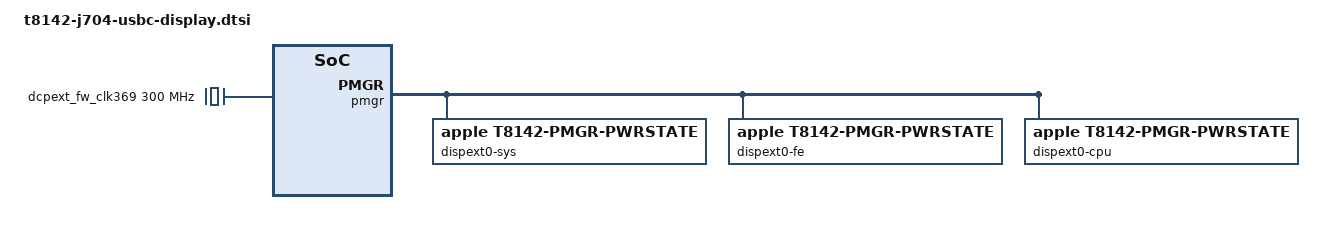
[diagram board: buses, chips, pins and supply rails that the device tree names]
// SPDX-License-Identifier: GPL-2.0+ OR MIT
/*
 * J704 external displays over USB-C: DisplayPort alt mode on the two left
 * ports (ATC0 left-front, ATC1 left-rear).
 *
 * DCPEXT1 is kept for the HDMI port, so DCPEXT0 serves both left USB-C
 * ports, one at a time: it has a Type-C route to each, through the display
 * crossbar behind each port's PHY (crossbar source 2 = twice the ADT
 * dp-switch-ufp-endpoint 1). The right port (ATC3) gets no route yet: it is
 * untested, as it carried the USB link to the host during bring-up.
 *
 * As on the J813/J815 (t8142-j813-dcpext.dtsi): iBoot preloads DCPEXT0 with the
 * internal DCP's image and leaves it running idle; the boot loader hands it
 * over (aura dt_set_t8142_dcpext(), result in /chosen/aurora,dcpext0-handoff)
 * and enables the processor, its mailbox, DARTs and routes together. It also
 * copies the ATC DP LIOA/common calibration into atcphy0/1 once they have a
 * LIOA window. Until then everything stays disabled and the ports are USB.
 *
 * Values checked against this machine's ADT: dcpext0 IRQs 853-856, SID 23,
 * dispext0 clock-ids 369/432, DISPEXT0_SYS/FE/CPU at PMGR 0x308/0x418/0x428,
 * atc-phy0/1 AXI2AF windows 0x400000000/0x408000000 (LIOA at +0x20000).
 */

#include <dt-bindings/phy/phy.h>

/ {
	aliases {
		dcpext0 = &dcpext0;
		dispext0-piodma = &dispext0_piodma;
	};
};

&pmgr {
	/* Owned by the inherited firmware session, as the DISPEXT1 chain. */
	ps_dispext0_sys: power-controller@308 {
		compatible = "apple,t8142-pmgr-pwrstate", "apple,t8103-pmgr-pwrstate";
		reg = <0x308 4>;
		#power-domain-cells = <0>;
		#reset-cells = <0>;
		apple,firmware-owned;
		label = "dispext0-sys";
	};

	ps_dispext0_fe: power-controller@418 {
		compatible = "apple,t8142-pmgr-pwrstate", "apple,t8103-pmgr-pwrstate";
		reg = <0x418 4>;
		#power-domain-cells = <0>;
		#reset-cells = <0>;
		power-domains = <&ps_dispext0_sys>;
		apple,firmware-owned;
		label = "dispext0-fe";
	};

	ps_dispext0_cpu: power-controller@428 {
		compatible = "apple,t8142-pmgr-pwrstate", "apple,t8103-pmgr-pwrstate";
		reg = <0x428 4>;
		#power-domain-cells = <0>;
		#reset-cells = <0>;
		power-domains = <&ps_dispext0_fe>;
		apple,firmware-owned;
		label = "dispext0-cpu";
	};
};

&{/soc} {
	/* /arm-io/pmgr bwr-agent DISP_EXT0 (3): 0x20000 + 3 * 0x4000 */
	pmgr_dcpext0: power-management@38272c000 {
		reg = <3 0x8272c000 0 0x8>, <3 0x827b0000 0 0x4>;
		reg-names = "dcp-bw-scratch", "dcp-bw-doorbell";
		#apple,bw-scratch-cells = <3>;
		#apple,bw-doorbell-cells = <2>;
	};

	dcpext0_mbox: mailbox@506e08000 {
		compatible = "apple,t8142-asc-mailbox", "apple,asc-mailbox-v4";
		reg = <5 0x06e08000 0 0x4000>;
		interrupts = <AIC_IRQ 853 IRQ_TYPE_LEVEL_HIGH>,
			     <AIC_IRQ 854 IRQ_TYPE_LEVEL_HIGH>,
			     <AIC_IRQ 855 IRQ_TYPE_LEVEL_HIGH>,
			     <AIC_IRQ 856 IRQ_TYPE_LEVEL_HIGH>;
		interrupt-names = "send-empty", "send-not-empty",
				  "recv-empty", "recv-not-empty";
		#mbox-cells = <0>;
		power-domains = <&ps_dispext0_cpu>;
		status = "disabled";
	};

	dcpext0: dcp@506e00000 {
		compatible = "apple,t8142-dcpext", "apple,dcpext";
		reg = <5 0x06e00000 0 0x4000>,
		      <5 0x04000000 0 0xb1c000>,
		      <5 0x06240000 0 0x10000>,
		      <5 0x063ac000 0 0x4000>,
		      <5 0x06800000 0 0x800000>,
		      <3 0x82700000 0 0x114000>,
		      <5 0x06850000 0 0x4000>;
		reg-names = "coproc", "disp-0", "disp-1", "disp-2",
			    "disp-3", "disp-4", "iop-vbar";
		mboxes = <&dcpext0_mbox>;
		mbox-names = "mbox";
		iommus = <&dcpext0_dart 23>;
		power-domains = <&ps_dispext0_cpu>;
		/* The firmware's clocks: /arm-io/dispext0 clock-ids, as on disp0. */
		apple,clock-ids = <369 432>;
		clocks = <&clkref>, <&dcpext_fw_clk369>, <&dcpext_fw_clk432>;
		clock-names = "clock-154", "firmware-0", "firmware-1";
		apple,bw-scratch = <&pmgr_dcpext0 0 5 0>;
		apple,bw-doorbell = <&pmgr_dcpext0 1 6>;
		apple,iomfb-surfaces = <0 0 1 0>;
		apple,dcp-index = <1>;
		apple,connector-type = "USB-C";
		/* Per route: the ATC the DPTX drives, and the crossbar source. */
		apple,typec-dptx-phys = <0 1>;
		apple,typec-mux-indices = <2 2>;
		phys = <&atcphy0 PHY_TYPE_DP>, <&atcphy1 PHY_TYPE_DP>;
		phy-names = "typec0", "typec1";
		mux-controls = <&dpxbar0 0>, <&dpxbar1 0>;
		mux-control-names = "typec0", "typec1";
		/* Enabled by the boot loader once it has checked the session. */
		status = "disabled";

		dispext0_piodma: piodma {
			iommus = <&dispext0_dart 16>;
		};

		typec-routes {
			#address-cells = <1>;
			#size-cells = <0>;

			route@0 {
				reg = <0>;
				mode-switch;
				status = "disabled";

				port {
					dcpext0_typec0: endpoint {
						remote-endpoint = <&typec0_display>;
					};
				};
			};

			route@1 {
				reg = <1>;
				mode-switch;
				status = "disabled";

				port {
					dcpext0_typec1: endpoint {
						remote-endpoint = <&typec1_display>;
					};
				};
			};
		};
	};

	/* Each ATC's display crossbar sits behind its PHY's core window. */
	dpxbar0: mux-controller@40304c000 {
		compatible = "apple,t8142-display-crossbar";
		reg = <4 0x0304c000 0 0x4000>;
		#mux-control-cells = <1>;
		power-domains = <&ps_atc0_usb>;
	};

	dpxbar1: mux-controller@40b04c000 {
		compatible = "apple,t8142-display-crossbar";
		reg = <4 0x0b04c000 0 0x4000>;
		#mux-control-cells = <1>;
		power-domains = <&ps_atc1_usb>;
	};
};

/*
 * DisplayPort needs the LIOA bank (in the AXI2AF window) for the calibration
 * the boot loader copies from the ADT. Without both, the PHY stays USB only.
 */
&atcphy0 {
	reg = <4 0x03000000 0 0x4c000>,
	      <4 0x03050000 0 0x8000>,
	      <4 0x00000000 0 0x8000>,
	      <4 0x02a90000 0 0x4000>,
	      <4 0x02a84000 0 0x4000>,
	      <4 0x00020000 0 0x4000>;
	reg-names = "core", "lpdptx", "axi2af", "usb2phy", "pipehandler", "lioa";
};

&atcphy1 {
	reg = <4 0x0b000000 0 0x4c000>,
	      <4 0x0b050000 0 0x8000>,
	      <4 0x08000000 0 0x8000>,
	      <4 0x0aa90000 0 0x4000>,
	      <4 0x0aa84000 0 0x4000>,
	      <4 0x08020000 0 0x4000>;
	reg-names = "core", "lpdptx", "axi2af", "usb2phy", "pipehandler", "lioa";
};

&typec0 {
	ports {
		port@3 {
			reg = <3>;

			typec0_display: endpoint {
				remote-endpoint = <&dcpext0_typec0>;
			};
		};
	};
};

&typec1 {
	ports {
		port@3 {
			reg = <3>;

			typec1_display: endpoint {
				remote-endpoint = <&dcpext0_typec1>;
			};
		};
	};
};

/* Scanout and PIODMA share the first register window, as on disp0. */
&dispext0_dart {
	reg = <5 0x06300000 0 0xc000>;
	apple,dma-range = <0x100 0x0 0x10 0x0>;
	power-domains = <&ps_dispext0_cpu>;
};

&dcpext0_dart {
	apple,dma-range = <0x100 0x0 0x10 0x0>;
	power-domains = <&ps_dispext0_cpu>;
};

/ {
	/*
	 * DCPEXT0 firmware clocks (/arm-io/dispext0 clock-ids 369 and 432):
	 * /arm-io clock-frequencies entry 0x71 = 300 MHz; 432 has no entry.
	 * Values from the J813/J815 tree (same SoC).
	 */
	dcpext_fw_clk369: clock-dcpext-firmware-369 {
		compatible = "fixed-clock";
		#clock-cells = <0>;
		clock-frequency = <300000000>;
		clock-output-names = "dcpext_firmware_369";
	};

	dcpext_fw_clk432: clock-dcpext-firmware-432 {
		compatible = "fixed-clock";
		#clock-cells = <0>;
		clock-frequency = <0>;
		clock-output-names = "dcpext_firmware_432";
	};
};
